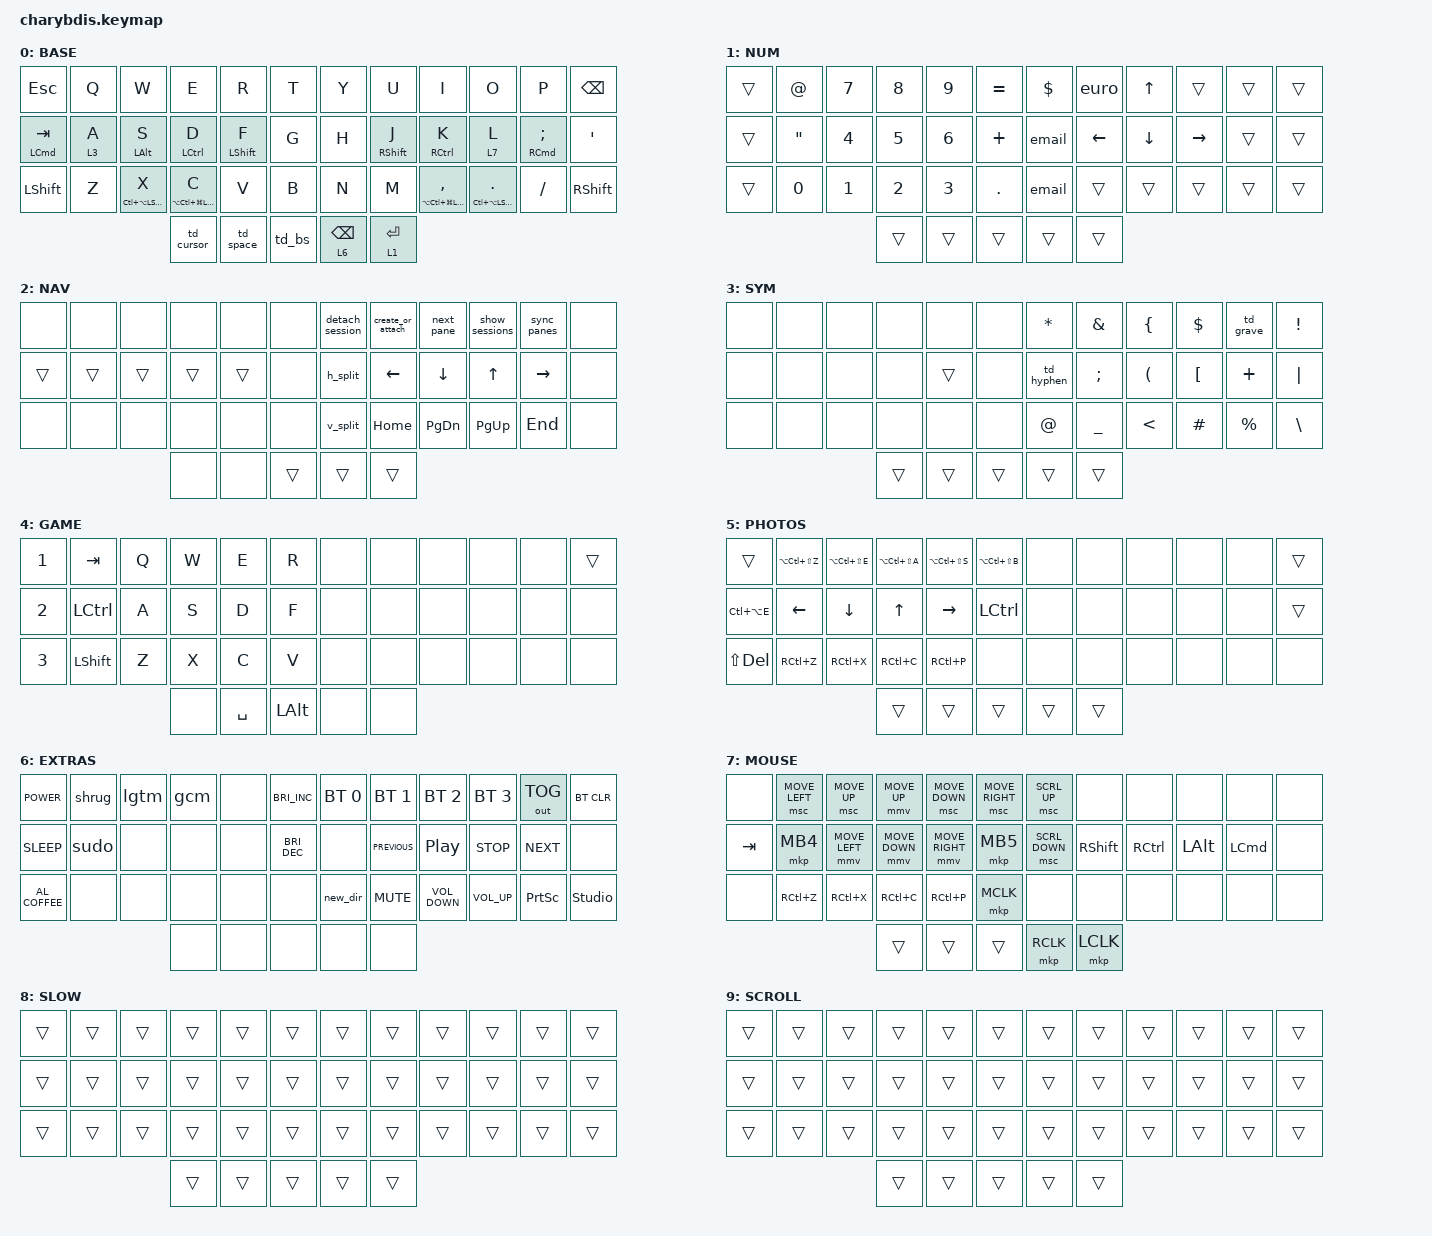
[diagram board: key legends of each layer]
#include <behaviors.dtsi>
#include <dt-bindings/zmk/bt.h>
#include <dt-bindings/zmk/keys.h>
#include <dt-bindings/zmk/mouse.h>
#include <dt-bindings/zmk/outputs.h>
#include <behaviors/mouse_keys.dtsi>
#include <dt-bindings/zmk/ext_power.h>
#include "macros.dtsi"
#include "behaviors.dtsi"
#include "combos.dtsi"

/ {
    /* input config for mouse move mode */
    trackball_listener {
        compatible = "zmk,input-behavior-listener";
        device = <&vtrackball>;
        layers = <0 2 7>;
        evt-type = <INPUT_EV_REL>;
        x-input-code = <INPUT_REL_X>;
        y-input-code = <INPUT_REL_Y>;
        scale-multiplier = <4>;
        scale-divisor = <5>;
        // bindings = <&ib_toggle_layer 7>;
    };

    /* input config for snipe mode */
    trackball_snipe_listener {
        compatible = "zmk,input-behavior-listener";   
        device = <&vtrackball>;
        layers = <8>;
        evt-type = <INPUT_EV_REL>;
        x-input-code = <INPUT_REL_X>;
        y-input-code = <INPUT_REL_Y>;
        scale-multiplier = <1>;
        scale-divisor = <6>;
    };

    /* input config for mouse scroll mode */
    trackball_scroll_listener {
        compatible = "zmk,input-behavior-listener";
        device = <&vtrackball>;
        layers = <9>;
        evt-type = <INPUT_EV_REL>;            
        x-input-code = <INPUT_REL_MISC>;
        y-input-code = <INPUT_REL_WHEEL>;
        y-invert;
        bindings = <&ib_wheel_scaler 1 14>;
    };

    /* define a resolution down scaler only for INPUT_REL_WHEEL */
    ib_wheel_scaler: ib_wheel_scaler {
        compatible = "zmk,input-behavior-scaler";
        #binding-cells = <2>;
        evt-type = <INPUT_EV_REL>;
        input-code = <INPUT_REL_WHEEL>;
    };

    /* adjust cooldown waiting period for mouse key layer after activated */
    ib_toggle_layer: ib_toggle_layer {
        compatible = "zmk,input-behavior-tog-layer";
        #binding-cells = <1>;
        time-to-live-ms = <750>;
    };
// ╭──────┬──────┬──────┬──────┬──────┬──────╮  ╭──────┬──────┬──────┬──────┬──────┬──────╮
//    00     01     02     03    04      05        06     07     08     09     10     11
// ├──────┼──────┼──────┼──────┼──────┼──────┤  ├──────┼──────┼──────┼──────┼──────┼──────┤
//    12     13     14     15    16      17        18     19     20     21     22     23
// ├──────┼──────┼──────┼──────┼──────┼──────┤  ├──────┼──────┼──────┼──────┼──────┼──────┤
//    24     25     26     27    28      29        30     31     32     33     34     35
// ╰──────┴──────┴──────┼──────┼──────┼──────┤  ├──────┼──────┼──────┴──────┴──────┴──────╯
//                         36     37     38        39     40
//                      ╰──────┴──────┴──────╯  ╰──────┴──────╯
// #define BASE    0
// #define NUM     1
// #define NAV     2
// #define SYM     3
// #define GAME    4
// #define PHOTOS  5
// #define EXTRAS  6
// #define MOUSE   7
// #define SLOW    8
// #define SCROLL  9

   macros {
        euro: euro {
            compatible = "zmk,behavior-macro";
            #binding-cells = <0>;
            bindings = <&kp LA(NUMBER_0) &kp LA(NUMBER_1) &kp LA(NUMBER_2) &kp LA(N8)>;
            label = "EURO";
        };

        email: email {
            compatible = "zmk,behavior-macro";
            #binding-cells = <0>;
            bindings = <&kp S &kp U &kp R &kp I &kp A &kp R &kp I &kp B &kp E &kp I &kp R &kp O &kp AT &kp G &kp M &kp A &kp I &kp L &kp DOT &kp C &kp O &kp M>;
            label = "EMAIL";
        };
    };

    keymap {
        compatible = "zmk,keymap";
        BASE {
            bindings = <
// ╭────────────────┬──────────────┬─────────────────────────────┬──────────────────────────────────┬──────────────────────┬────────╮  ╭────────────────┬─────────────────────────┬──────────────────────────────────────┬────────────────────────────────────┬────────────────────────┬──────────────╮
    &kp ESC          &kp Q           &kp W                          &kp E                              &kp R                  &kp T       &kp Y             &kp U                   &kp I                                   &kp O                                &kp P                    &kp BACKSPACE
// ├────────────────┼──────────────┼─────────────────────────────┼──────────────────────────────────┼──────────────────────┼────────┤  ├────────────────┼─────────────────────────┼──────────────────────────────────────┼────────────────────────────────────┼────────────────────────┼──────────────┤
    &hm_left LCMD TAB  &lt 3 A      &hm_left LEFT_ALT S            &hm_left LCTRL D                   &hm_left LEFT_SHIFT F  &kp G       &kp H             &hm_right RIGHT_SHIFT J  &hm_right RCTRL K                       &lt 7 L                              &hm_right RCMD SEMICOLON &kp SQT
// ├────────────────┼──────────────┼─────────────────────────────┼──────────────────────────────────┼──────────────────────┼────────┤  ├────────────────┼─────────────────────────┼──────────────────────────────────────┼────────────────────────────────────┼────────────────────────┼──────────────┤
    &kp LSHFT    &kp Z        &hm_left LC(LA(LEFT_SHIFT)) X  &hm_left LA(LC(LG(LEFT_SHIFT))) C  &kp V                  &kp B       &kp N             &kp M                   &hm_right LA(LC(LG(LEFT_SHIFT))) COMMA  &hm_right LC(LA(LEFT_SHIFT)) PERIOD  &kp SLASH                  &kp RSHFT
// ╰────────────────┴──────────────┴─────────────────────────────┼──────────────────────────────────┼──────────────────────┼────────┤  ├────────────────┼─────────────────────────┼──────────────────────────────────────┴────────────────────────────────────┴────────────────────────┴──────────────╯
                                                                               &td_cursor    &td_space          &td_bs                   &lt 6 BACKSPACE      &lt 1 RETURN
                                                                          // ╰─────────────┴──────────────────┴────────╯               ╰────────────────┴──────────────╯
            >;
        };

        NUM {
            bindings = <
&trans  &kp AT             &kp N7  &kp N8  &kp N9  &kp EQUAL  &kp DOLLAR  &euro           &kp UP_ARROW    &trans           &trans  &trans
&trans  &kp DOUBLE_QUOTES  &kp N4  &kp N5  &kp N6  &kp PLUS   &email      &kp LEFT_ARROW  &kp DOWN_ARROW  &kp RIGHT_ARROW  &trans  &trans
&trans  &kp N0             &kp N1  &kp N2  &kp N3  &kp DOT    &email      &trans          &trans          &trans           &trans  &trans
                                   &trans  &trans  &trans     &trans      &trans
            >;
        };

        NAV {
            bindings = <
&none   &none   &none   &none   &none   &none     &detach_session  &create_or_attach  &next_pane   &show_sessions  &sync_panes       &none
&trans  &trans  &trans  &trans  &trans  &none     &h_split         &kp LEFT_ARROW     &kp DOWN     &kp UP          &kp RIGHT_ARROW   &none
&none   &none   &none   &none   &none   &none     &v_split         &kp HOME           &kp PG_DN    &kp PG_UP       &kp END           &none
                        &none   &none   &trans    &trans   &trans
            >;
        };

        SYM {
            bindings = <
&none  &none  &none  &none  &none   &none      &kp ASTRK   &kp AMPS       &kp LEFT_BRACE &kp DLLR &td_grave &kp EXCL
&none  &none  &none  &none  &trans  &none      &td_hyphen  &kp SEMICOLON  &kp LPAR       &kp LBKT &kp PLUS  &kp PIPE
&none  &none  &none  &none  &none   &none      &kp AT_SIGN &kp UNDERSCORE &kp LT         &kp HASH &kp PRCNT &kp BSLH
                   &trans  &trans  &trans      &trans      &trans
            >;
        };

        GAME {
            bindings = <
&kp N1  &kp TAB    &kp Q  &kp W   &kp E      &kp R           &none  &none  &none  &none  &none  &trans
&kp N2  &kp LCTRL  &kp A  &kp S   &kp D      &kp F           &none  &none  &none  &none  &none  &none
&kp N3  &kp LSHFT  &kp Z  &kp X   &kp C      &kp V           &none  &none  &none  &none  &none  &none
                          &none   &kp SPACE  &kp LEFT_ALT    &none  &none
            >;
        };

        PHOTOS {
            bindings = <
&trans          &kp LA(LC(LS(Z)))  &kp LA(LC(LS(E)))  &kp LA(LC(LS(A)))  &kp LA(LC(LS(S)))  &kp LA(LC(LS(B)))    &none   &none   &none  &none  &none  &trans
&kp LC(LA(E))   &kp LEFT           &kp DOWN           &kp UP             &kp RIGHT          &kp LCTRL            &none   &none   &none  &none  &none  &trans
&kp LS(DELETE)  &kp RC(Z)          &kp RC(X)          &kp RC(C)          &kp RC(P)          &none                &none   &none   &none  &none  &none  &none
                                                      &trans             &trans             &trans               &trans  &trans
            >;
        };

        EXTRAS {
            bindings = <
&kp C_POWER       &shrug  &lgtm     &gcm      &none  &kp C_BRIGHTNESS_INC    &bt BT_SEL 0  &bt BT_SEL 1    &bt BT_SEL 2       &bt BT_SEL 3  &out OUT_TOG     &bt BT_CLR
&kp C_SLEEP       &sudo   &none     &none     &none  &kp C_BRIGHTNESS_DEC    &none         &kp C_PREVIOUS  &kp C_PLAY_PAUSE   &kp C_STOP    &kp C_NEXT       &none
&kp C_AL_COFFEE   &none   &none     &none     &none  &none                   &new_dir      &kp K_MUTE      &kp C_VOLUME_DOWN  &kp C_VOLUME_UP   &kp PRINTSCREEN  &studio_unlock
                                    &none     &none  &none                   &none         &none
            >;
        };

        MOUSE {
            bindings = <
&none    &msc MOVE_LEFT  &msc MOVE_UP    &mmv MOVE_UP    &msc MOVE_DOWN   &msc MOVE_RIGHT    &msc SCRL_UP      &none            &none         &none         &none          &none
&kp TAB  &mkp MB4        &mmv MOVE_LEFT  &mmv MOVE_DOWN  &mmv MOVE_RIGHT  &mkp MB5           &msc SCRL_DOWN    &kp RIGHT_SHIFT  &kp RCTRL     &kp LEFT_ALT  &kp LCMD       &none
&none    &kp RC(Z)   &kp RC(X)    &kp RC(C)   &kp RC(P)   &mkp MCLK          &none  &none      &none            &none         &none         &none
                                         &trans          &trans           &trans             &mkp RCLK         &mkp LCLK
            >;
        };

        SLOW {
            bindings = <
&trans    &trans    &trans    &trans    &trans    &trans    &trans    &trans    &trans    &trans    &trans    &trans
&trans    &trans    &trans    &trans    &trans    &trans    &trans    &trans    &trans    &trans    &trans    &trans
&trans    &trans    &trans    &trans    &trans    &trans    &trans    &trans    &trans    &trans    &trans    &trans
                              &trans    &trans    &trans    &trans    &trans
            >;
        };

        SCROLL {
            bindings = <
&trans    &trans    &trans    &trans    &trans    &trans    &trans    &trans    &trans    &trans    &trans    &trans
&trans    &trans    &trans    &trans    &trans    &trans    &trans    &trans    &trans    &trans    &trans    &trans
&trans    &trans    &trans    &trans    &trans    &trans    &trans    &trans    &trans    &trans    &trans    &trans
                              &trans    &trans    &trans    &trans    &trans
            >;
        };
    };
};
